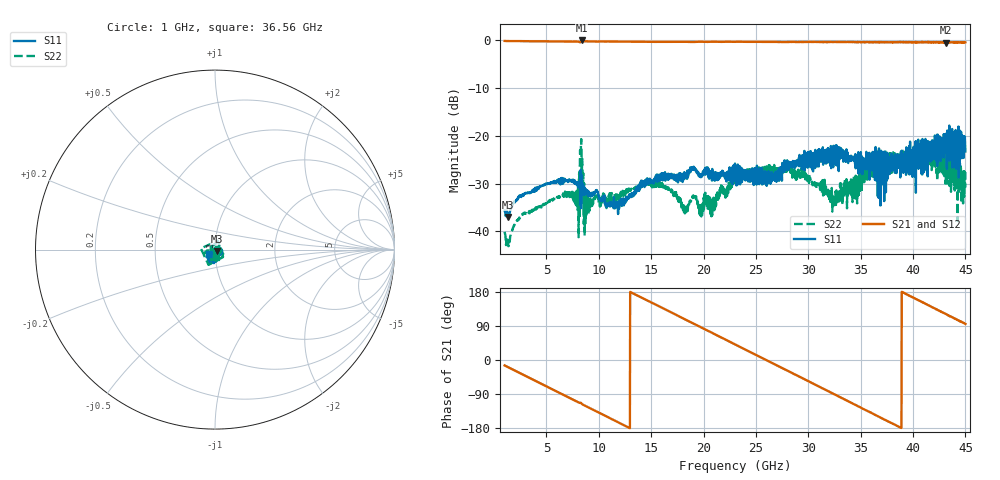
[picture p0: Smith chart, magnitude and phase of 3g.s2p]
!Keysight Technologies,N5247B,MY61255062,A.19.80.06
!Date: Tuesday, May 26, 2026 11:40:43
!Correction: S11(C  2-Port  )
!S21(C  2-Port  )
!S12(C  2-Port  )
!S22(C  2-Port  )
!S2P File: Measurements: S11, S21, S12, S22:
# Hz S  dB  R 50
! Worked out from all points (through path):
!   1601 points, 1 GHz to 45 GHz, reference 50 ohm
!   highest |S21| = -0.02 dB at 8.342 GHz (marker M1); lowest = -0.5 dB at 43.1 GHz (marker M2)
!   group delay of S21, straight-line fit = 38.5 ps
!   lowest |S11| = -37.0 dB at 1.33 GHz (marker M3), VSWR 1.03, Z = 51.2 - j0.795 ohm
!   |S11| at or under -10 dB: start of sweep to end of sweep
!   |S22| runs from -43.1 to -20.7 dB; largest |S21 - S12| = 0.016
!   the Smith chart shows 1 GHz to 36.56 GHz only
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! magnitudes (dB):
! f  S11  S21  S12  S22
! 1 GHz  -35.7  -0.1  -0.1  -40.1
! 1.33 GHz  -37.0  -0.2  -0.2  -42.5
! 2.788 GHz  -32.6  -0.2  -0.2  -36.2
! 6.665 GHz  -29.0  -0.2  -0.2  -32.0
! 7.848 GHz  -30.2  -0.3  -0.3  -31.6
! 8.342 GHz  -28.2  0.0  0.0  -23.7
! 8.865 GHz  -32.2  -0.2  -0.2  -32.4
! 11.72 GHz  -33.8  -0.3  -0.3  -32.7
! 15.69 GHz  -28.7  -0.3  -0.3  -30.3
! 18.19 GHz  -28.5  -0.3  -0.3  -35.2
! 19.15 GHz  -26.7  -0.3  -0.3  -32.7
! 19.73 GHz  -28.7  -0.3  -0.3  -34.6
! 23 GHz  -25.8  -0.3  -0.3  -28.8
! 26.6 GHz  -28.2  -0.3  -0.3  -27.7
! 28 GHz  -26.9  -0.4  -0.4  -27.1
! 30.34 GHz  -24.0  -0.3  -0.3  -29.7
! 32.52 GHz  -23.6  -0.4  -0.3  -34.5
! 37.69 GHz  -26.9  -0.4  -0.3  -26.8
! 40.35 GHz  -24.3  -0.4  -0.4  -23.2
! 43.1 GHz  -21.9  -0.5  -0.4  -30.0
! 44.56 GHz  -22.6  -0.4  -0.4  -26.1
! 45 GHz  -23.3  -0.4  -0.4  -27.6
